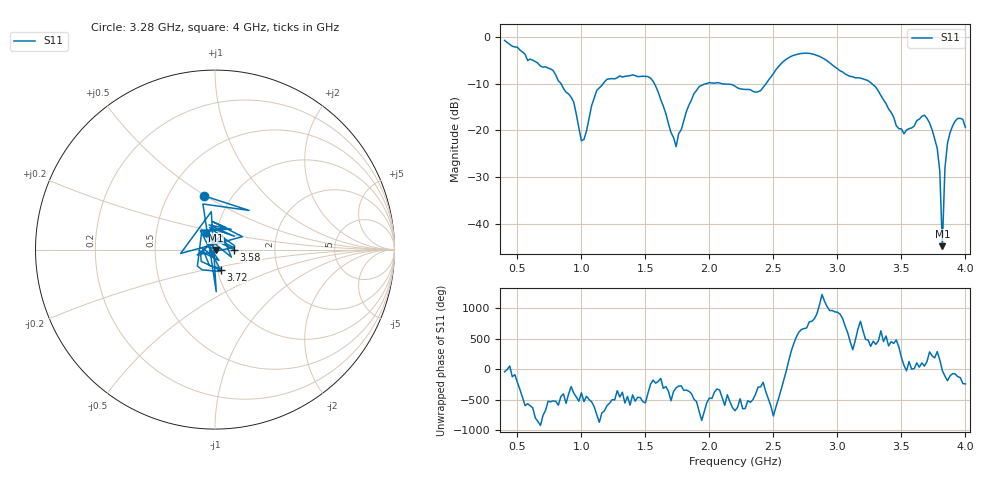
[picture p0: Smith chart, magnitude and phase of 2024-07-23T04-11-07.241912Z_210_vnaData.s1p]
!Created with skrf (http://scikit-rf.org).
# Hz S RI R 50.0
!freq ReS11 ImS11
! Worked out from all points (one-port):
!   181 points, 400 MHz to 4 GHz, reference 50 ohm
!   lowest |S11| = -44.8 dB at 3.82 GHz (marker M1), VSWR 1.01, Z = 50.5 - j0.227 ohm
!   |S11| at or under -10 dB: 1.57 GHz to 1.98 GHz (410.7 MHz wide, 23.1 % of centre); 2.094 GHz to 2.443 GHz (349.4 MHz wide, 15.4 % of centre); 3.268 GHz to end of sweep (the widest 3 of 4)
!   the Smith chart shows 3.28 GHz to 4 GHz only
!   S11 on the Smith chart (normalised r, x): 3.28 GHz: 0.74, +0.49; 3.58 GHz: 1.24, +0.00; 3.72 GHz: 1.04, -0.24; 4 GHz: 0.89, +0.17
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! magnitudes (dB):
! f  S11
! 400 MHz  -0.8
! 780 MHz  -7.2
! 860 MHz  -11.1
! 940 MHz  -14.0
! 1 GHz  -22.3
! 1.12 GHz  -11.5
! 1.3 GHz  -8.4
! 1.54 GHz  -8.8
! 1.74 GHz  -23.5
! 1.76 GHz  -20.7
! 1.92 GHz  -10.6
! 2.2 GHz  -10.6
! 2.4 GHz  -11.5
! 2.66 GHz  -3.9
! 3.1 GHz  -8.5
! 3.28 GHz  -10.3
! 3.46 GHz  -19.0
! 3.56 GHz  -19.7
! 3.58 GHz  -19.5
! 3.68 GHz  -16.8
! 3.72 GHz  -18.4
! 3.78 GHz  -23.9
! 3.8 GHz  -28.7
! 3.82 GHz  -44.8
! 3.84 GHz  -28.2
! 3.86 GHz  -22.8
! 3.94 GHz  -17.5
! 4 GHz  -19.4
